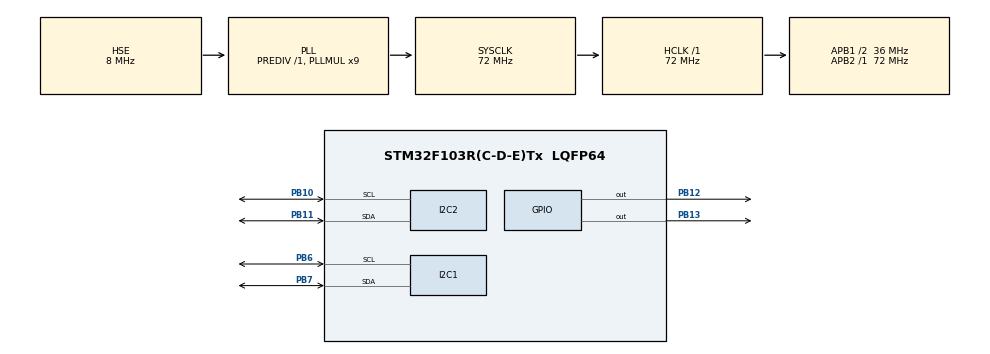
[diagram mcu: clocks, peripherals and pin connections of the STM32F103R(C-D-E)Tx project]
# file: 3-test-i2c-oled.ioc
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I2C2.I2C_Mode=I2C_Standard
Mcu.Family=STM32F1
Mcu.Name=STM32F103R(C-D-E)Tx
Mcu.Package=LQFP64
NVIC.PriorityGroup=NVIC_PRIORITYGROUP_4
PA13.Mode=Serial_Wire
PA13.Signal=SYS_JTMS-SWDIO
PA14.Mode=Serial_Wire
PA14.Signal=SYS_JTCK-SWCLK
PB10.Mode=I2C
PB10.Signal=I2C2_SCL
PB11.Mode=I2C
PB11.Signal=I2C2_SDA
PB12.Signal=GPIO_Output
PB13.Signal=GPIO_Output
PB6.Mode=I2C
PB6.Signal=I2C1_SCL
PB7.Mode=I2C
PB7.Signal=I2C1_SDA
PD0-OSC_IN.Mode=HSE-External-Oscillator
PD0-OSC_IN.Signal=RCC_OSC_IN
PD1-OSC_OUT.Mode=HSE-External-Oscillator
PD1-OSC_OUT.Signal=RCC_OSC_OUT
ProjectManager.HeapSize=0x200
ProjectManager.StackSize=0x400
ProjectManager.TargetToolchain=STM32CubeIDE
RCC.AHBFreq_Value=72000000
RCC.APB1CLKDivider=RCC_HCLK_DIV2
RCC.APB1Freq_Value=36000000
RCC.APB1TimFreq_Value=72000000
RCC.APB2Freq_Value=72000000
RCC.APB2TimFreq_Value=72000000
RCC.HCLKFreq_Value=72000000
RCC.PLLMUL=RCC_PLL_MUL9
RCC.PLLSourceVirtual=RCC_PLLSOURCE_HSE
RCC.SYSCLKFreq_VALUE=72000000
RCC.SYSCLKSource=RCC_SYSCLKSOURCE_PLLCLK
RCC.USBFreq_Value=72000000
board=custom

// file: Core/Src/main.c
/* USER CODE BEGIN Header */
/**
  ******************************************************************************
  * @file           : main.c
  * @brief          : Main program body
  ******************************************************************************
  * @attention
  *
  * Copyright (c) 2026 STMicroelectronics.
  * All rights reserved.
  *
  * This software is licensed under terms that can be found in the LICENSE file
  * in the root directory of this software component.
  * If no LICENSE file comes with this software, it is provided AS-IS.
  *
  ******************************************************************************
  */
/* USER CODE END Header */
#include "main.h"

/* USER CODE BEGIN Includes */
#include "mpu6050.h"
#include "ssd1306.h"
#include "ssd1306_tests.h"
#include "ssd1306_fonts.h"
#include <math.h>
/* USER CODE END Includes */

I2C_HandleTypeDef hi2c1;
I2C_HandleTypeDef hi2c2;

/* USER CODE BEGIN PV */
MPU6050_Data mpuData;
float pitch;
static char buf[32];
/* USER CODE END PV */

void SystemClock_Config(void);
static void MX_GPIO_Init(void);
static void MX_I2C2_Init(void);
static void MX_I2C1_Init(void);

/* USER CODE BEGIN 0 */
void FormatDistance(float distance, char *buf)
{
    int intPart = (int)distance;                  // 123
    int fracPart = (int)((distance - intPart) * 10); // 0.4 -> 4

    // simple formatting into buf
    buf[0] = (intPart / 100) % 10 + '0';
    buf[1] = (intPart / 10) % 10 + '0';
    buf[2] = intPart % 10 + '0';
    buf[3] = '.';
    buf[4] = fracPart % 10 + '0';
    buf[5] = 0; // null-terminate
}

void ssd1306_ShowDistance(float dist)
{
    //float dist = SR04_GetDistanceCm_IT();  // get result from interrupt logic

    ssd1306_Fill(Black);

    // Title
    ssd1306_SetCursor(0, 0);
    ssd1306_WriteString("SR04 Distance", Font_7x10, White);

    ssd1306_SetCursor(0, 16);

    if (dist < 0)
    {
        ssd1306_WriteString("Measuring...", Font_11x18, White);
    }
    else
    {
        // Format text: "123.4 cm"
//    	ssd1306_WriteString("not measuring ...", Font_11x18, White);
//        snprintf(buf, sizeof(buf), "%.1f cm", dist);
        FormatDistance(dist, buf);
        ssd1306_WriteString(buf, Font_16x26, White);
    }

    ssd1306_UpdateScreen();
}

/* USER CODE END 0 */

int main(void)
{

  /* MCU Configuration--------------------------------------------------------*/

  /* Reset of all peripherals, Initializes the Flash interface and the Systick. */
  HAL_Init();

  /* Configure the system clock */
  SystemClock_Config();

  /* Initialize all configured peripherals */
  MX_GPIO_Init();
  MX_I2C2_Init();
  MX_I2C1_Init();
  /* USER CODE BEGIN 2 */
    MPU6050_Init(&hi2c1);
    HAL_Delay(500);
    ssd1306_Init();
    ssd1306_Fill(Black);
    ssd1306_SetCursor(4, 4);
    ssd1306_WriteString("Proportional", Font_16x15, White);
    ssd1306_UpdateScreen();
    HAL_GPIO_WritePin(GPIOB, GPIO_PIN_13, GPIO_PIN_SET);
  /* USER CODE END 2 */

  /* Infinite loop */
  /* USER CODE BEGIN WHILE */
  while (1)
  {
	  HAL_GPIO_WritePin(GPIOB, GPIO_PIN_13, GPIO_PIN_SET);
    /* USER CODE END WHILE */

    /* USER CODE BEGIN 3 */
    MPU6050_ReadData(&hi2c1, &mpuData);

    /* Pitch angle from accelerometer: atan2(AccX, AccZ) in degrees */
    pitch = atan2f((float)mpuData.AccX, (float)mpuData.AccZ) * (180.0f / 3.14159265f);

    ssd1306_ShowDistance(pitch);

    HAL_Delay(100);
  }
  /* USER CODE END 3 */
}

void SystemClock_Config(void)
{
  RCC_OscInitTypeDef RCC_OscInitStruct = {0};
  RCC_ClkInitTypeDef RCC_ClkInitStruct = {0};

  /** Initializes the RCC Oscillators according to the specified parameters
  * in the RCC_OscInitTypeDef structure.
  */
  RCC_OscInitStruct.OscillatorType = RCC_OSCILLATORTYPE_HSE;
  RCC_OscInitStruct.HSEState = RCC_HSE_ON;
  RCC_OscInitStruct.HSEPredivValue = RCC_HSE_PREDIV_DIV1;
  RCC_OscInitStruct.HSIState = RCC_HSI_ON;
  RCC_OscInitStruct.PLL.PLLState = RCC_PLL_ON;
  RCC_OscInitStruct.PLL.PLLSource = RCC_PLLSOURCE_HSE;
  RCC_OscInitStruct.PLL.PLLMUL = RCC_PLL_MUL9;
  if (HAL_RCC_OscConfig(&RCC_OscInitStruct) != HAL_OK)
  {
    Error_Handler();
  }

  /** Initializes the CPU, AHB and APB buses clocks
  */
  RCC_ClkInitStruct.ClockType = RCC_CLOCKTYPE_HCLK|RCC_CLOCKTYPE_SYSCLK
                              |RCC_CLOCKTYPE_PCLK1|RCC_CLOCKTYPE_PCLK2;
  RCC_ClkInitStruct.SYSCLKSource = RCC_SYSCLKSOURCE_PLLCLK;
  RCC_ClkInitStruct.AHBCLKDivider = RCC_SYSCLK_DIV1;
  RCC_ClkInitStruct.APB1CLKDivider = RCC_HCLK_DIV2;
  RCC_ClkInitStruct.APB2CLKDivider = RCC_HCLK_DIV1;

  if (HAL_RCC_ClockConfig(&RCC_ClkInitStruct, FLASH_LATENCY_2) != HAL_OK)
  {
    Error_Handler();
  }
}

static void MX_I2C1_Init(void)
{

  hi2c1.Instance = I2C1;
  hi2c1.Init.ClockSpeed = 100000;
  hi2c1.Init.DutyCycle = I2C_DUTYCYCLE_2;
  hi2c1.Init.OwnAddress1 = 0;
  hi2c1.Init.AddressingMode = I2C_ADDRESSINGMODE_7BIT;
  hi2c1.Init.DualAddressMode = I2C_DUALADDRESS_DISABLE;
  hi2c1.Init.OwnAddress2 = 0;
  hi2c1.Init.GeneralCallMode = I2C_GENERALCALL_DISABLE;
  hi2c1.Init.NoStretchMode = I2C_NOSTRETCH_DISABLE;
  if (HAL_I2C_Init(&hi2c1) != HAL_OK)
  {
    Error_Handler();
  }

}

static void MX_I2C2_Init(void)
{

  hi2c2.Instance = I2C2;
  hi2c2.Init.ClockSpeed = 100000;
  hi2c2.Init.DutyCycle = I2C_DUTYCYCLE_2;
  hi2c2.Init.OwnAddress1 = 0;
  hi2c2.Init.AddressingMode = I2C_ADDRESSINGMODE_7BIT;
  hi2c2.Init.DualAddressMode = I2C_DUALADDRESS_DISABLE;
  hi2c2.Init.OwnAddress2 = 0;
  hi2c2.Init.GeneralCallMode = I2C_GENERALCALL_DISABLE;
  hi2c2.Init.NoStretchMode = I2C_NOSTRETCH_DISABLE;
  if (HAL_I2C_Init(&hi2c2) != HAL_OK)
  {
    Error_Handler();
  }

}

static void MX_GPIO_Init(void)
{
  GPIO_InitTypeDef GPIO_InitStruct = {0};

  /* GPIO Ports Clock Enable */
  __HAL_RCC_GPIOD_CLK_ENABLE();
  __HAL_RCC_GPIOB_CLK_ENABLE();
  __HAL_RCC_GPIOA_CLK_ENABLE();

  /*Configure GPIO pin Output Level */
  HAL_GPIO_WritePin(GPIOB, GPIO_PIN_12|GPIO_PIN_13, GPIO_PIN_RESET);

  /*Configure GPIO pins : PB12 PB13 */
  GPIO_InitStruct.Pin = GPIO_PIN_12|GPIO_PIN_13;
  GPIO_InitStruct.Mode = GPIO_MODE_OUTPUT_PP;
  GPIO_InitStruct.Pull = GPIO_NOPULL;
  GPIO_InitStruct.Speed = GPIO_SPEED_FREQ_LOW;
  HAL_GPIO_Init(GPIOB, &GPIO_InitStruct);

}

void Error_Handler(void)
{
  __disable_irq();
  while (1)
  {
  }
}
